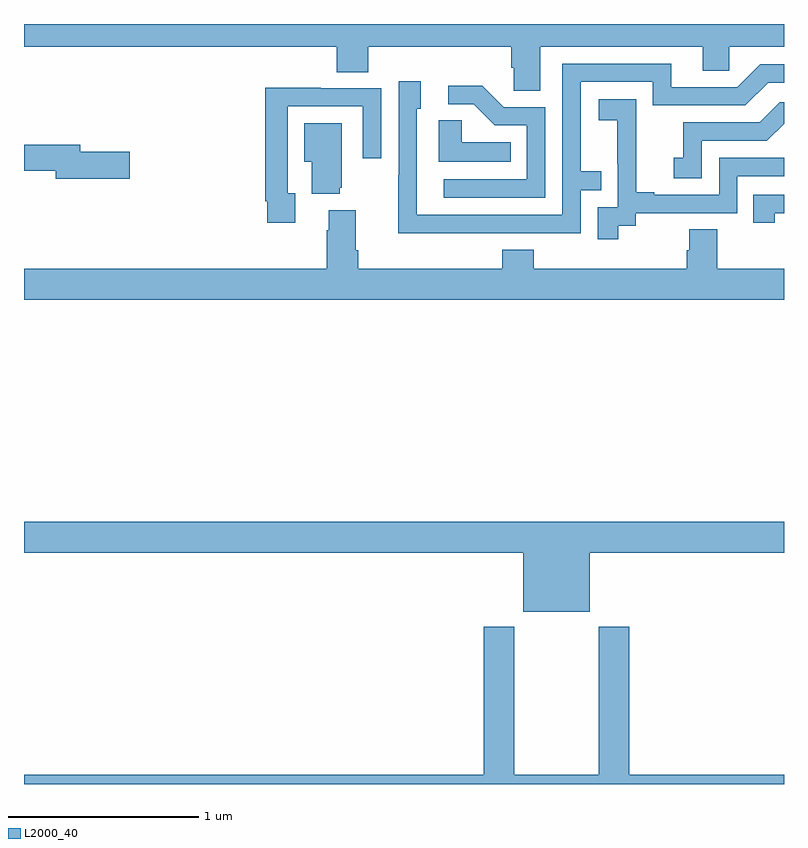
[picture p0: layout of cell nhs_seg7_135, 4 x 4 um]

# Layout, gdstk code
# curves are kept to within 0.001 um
import gdstk
lib = gdstk.Library(unit=1e-6, precision=1e-09)
def P(c, l, *ps):  # polygons
    for p in ps: c.add(gdstk.Polygon(p, *l))
L2000_40 = (2000, 40)

nhs_seg7_135 = lib.new_cell('nhs_seg7_135')
P(nhs_seg7_135, L2000_40, [(121.717,1069.88),(122.573,1069.88),(122.573,1069.753),(122.712,1069.753),(122.712,1069.88),(123,1069.88),(123,1070),(119,1070),(119,1069.88),(120.647,1069.88),(120.647,1069.747),(120.812,1069.747),(120.812,1069.88),(121.565,1069.88),(121.565,1069.771),(121.578,1069.771),(121.578,1069.648),(121.717,1069.648)],
  [(121.433,1068.9),(121.929,1068.9),(121.929,1069.125),(122.039,1069.125),(122.039,1069.226),(121.929,1069.226),(121.929,1069.695),(122.31,1069.695),(122.31,1069.572),(122.796,1069.572),(122.916,1069.692),(123,1069.692),(123,1069.788),(122.874,1069.788),(122.754,1069.668),(122.407,1069.668),(122.407,1069.791),(121.833,1069.791),(121.833,1068.996),(121.068,1068.996),(121.068,1069.554),(121.087,1069.554),(121.087,1069.699),(120.972,1069.699),(120.972,1069.205),(120.97,1069.205),(120.97,1068.899)],
  [(121.743,1069.563),(121.524,1069.563),(121.411,1069.676),(121.233,1069.676),(121.233,1069.578),(121.367,1069.578),(121.478,1069.467),(121.647,1069.467),(121.647,1069.182),(121.209,1069.182),(121.209,1069.086),(121.743,1069.086)],
  [(120.427,1069.11),(120.387,1069.11),(120.387,1069.566),(120.783,1069.566),(120.783,1069.293),(120.879,1069.293),(120.879,1069.662),(120.563,1069.662),(120.563,1069.664),(120.271,1069.664),(120.271,1069.066),(120.279,1069.066),(120.279,1068.954),(120.427,1068.954)],
  [(122.128,1068.937),(122.22,1068.937),(122.22,1069.005),(122.754,1069.005),(122.754,1069.2),(123,1069.2),(123,1069.296),(122.658,1069.296),(122.658,1069.101),(122.317,1069.101),(122.317,1069.114),(122.222,1069.114),(122.222,1069.397),(122.223,1069.397),(122.223,1069.603),(122.025,1069.603),(122.025,1069.493),(122.123,1069.493),(122.123,1069.265),(122.124,1069.265),(122.124,1069.035),(122.019,1069.035),(122.019,1068.867),(122.128,1068.867)],
  [(122.568,1069.386),(122.91,1069.386),(123,1069.476),(123,1069.587),(122.978,1069.587),(122.873,1069.482),(122.47,1069.482),(122.47,1069.297),(122.421,1069.297),(122.421,1069.188),(122.568,1069.188)],
  [(121.562,1069.378),(121.305,1069.378),(121.305,1069.493),(121.184,1069.493),(121.184,1069.274),(121.562,1069.274)],
  [(120.662,1069.137),(120.673,1069.137),(120.673,1069.477),(120.476,1069.477),(120.476,1069.274),(120.515,1069.274),(120.515,1069.106),(120.662,1069.106)],
  [(119.557,1069.328),(119.296,1069.328),(119.296,1069.364),(119,1069.364),(119,1069.228),(119.168,1069.228),(119.168,1069.186),(119.557,1069.186)],
  [(122.95,1069.005),(123,1069.005),(123,1069.101),(122.839,1069.101),(122.839,1068.954),(122.95,1068.954)],
  [(123,1068.712),(122.649,1068.712),(122.649,1068.92),(122.501,1068.92),(122.501,1068.81),(122.489,1068.81),(122.489,1068.712),(121.682,1068.712),(121.682,1068.811),(121.517,1068.811),(121.517,1068.712),(120.758,1068.712),(120.758,1068.808),(120.745,1068.808),(120.745,1069.021),(120.605,1069.021),(120.605,1068.914),(120.593,1068.914),(120.593,1068.712),(119,1068.712),(119,1068.548),(123,1068.548)],
  [(121.978,1067.216),(123,1067.216),(123,1067.38),(119,1067.38),(119,1067.216),(121.628,1067.216),(121.628,1066.907),(121.978,1066.907)],
  [(119,1066),(123,1066),(123,1066.048),(122.186,1066.048),(122.186,1066.828),(122.026,1066.828),(122.026,1066.048),(121.581,1066.048),(121.581,1066.828),(121.421,1066.828),(121.421,1066.048),(119,1066.048)])

lib.write_gds('nhs_seg7_135.gds')
